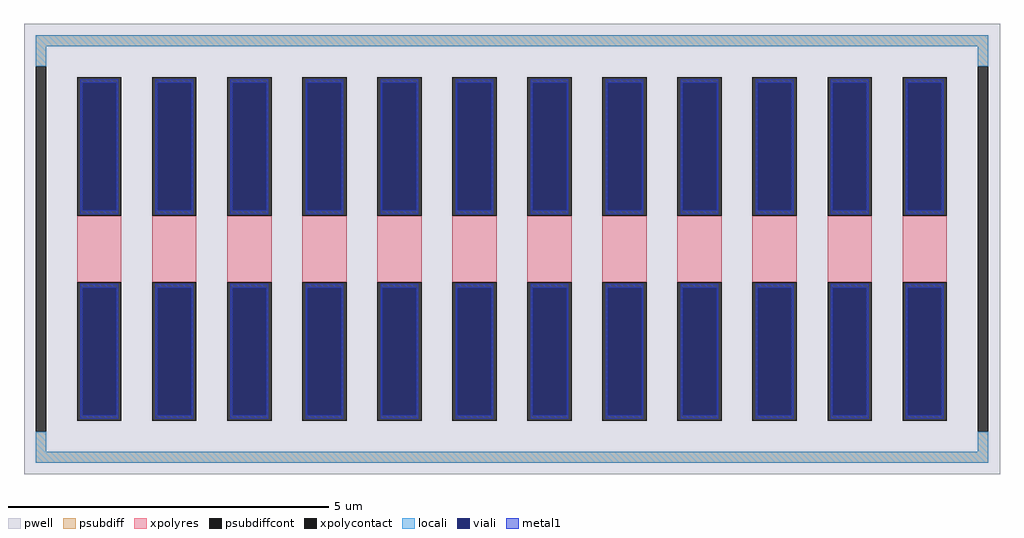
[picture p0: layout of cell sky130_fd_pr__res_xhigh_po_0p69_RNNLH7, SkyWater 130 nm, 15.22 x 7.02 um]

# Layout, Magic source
magic
tech sky130A
magscale 1 2
<< pwell >>
rect -1522 -702 1522 702
<< psubdiff >>
rect -1486 632 1486 666
rect -1486 570 -1452 632
rect 1452 570 1486 632
rect -1486 -632 -1452 -570
rect 1452 -632 1486 -570
rect -1486 -666 1486 -632
<< psubdiffcont >>
rect -1486 -570 -1452 570
rect 1452 -570 1486 570
<< xpolycontact >>
rect -1356 104 -1218 536
rect -1356 -536 -1218 -104
rect -1122 104 -984 536
rect -1122 -536 -984 -104
rect -888 104 -750 536
rect -888 -536 -750 -104
rect -654 104 -516 536
rect -654 -536 -516 -104
rect -420 104 -282 536
rect -420 -536 -282 -104
rect -186 104 -48 536
rect -186 -536 -48 -104
rect 48 104 186 536
rect 48 -536 186 -104
rect 282 104 420 536
rect 282 -536 420 -104
rect 516 104 654 536
rect 516 -536 654 -104
rect 750 104 888 536
rect 750 -536 888 -104
rect 984 104 1122 536
rect 984 -536 1122 -104
rect 1218 104 1356 536
rect 1218 -536 1356 -104
<< xpolyres >>
rect -1356 -104 -1218 104
rect -1122 -104 -984 104
rect -888 -104 -750 104
rect -654 -104 -516 104
rect -420 -104 -282 104
rect -186 -104 -48 104
rect 48 -104 186 104
rect 282 -104 420 104
rect 516 -104 654 104
rect 750 -104 888 104
rect 984 -104 1122 104
rect 1218 -104 1356 104
<< locali >>
rect -1486 632 1486 666
rect -1486 570 -1452 632
rect 1452 570 1486 632
rect -1486 -632 -1452 -570
rect 1452 -632 1486 -570
rect -1486 -666 1486 -632
<< viali >>
rect -1340 121 -1234 518
rect -1106 121 -1000 518
rect -872 121 -766 518
rect -638 121 -532 518
rect -404 121 -298 518
rect -170 121 -64 518
rect 64 121 170 518
rect 298 121 404 518
rect 532 121 638 518
rect 766 121 872 518
rect 1000 121 1106 518
rect 1234 121 1340 518
rect -1340 -518 -1234 -121
rect -1106 -518 -1000 -121
rect -872 -518 -766 -121
rect -638 -518 -532 -121
rect -404 -518 -298 -121
rect -170 -518 -64 -121
rect 64 -518 170 -121
rect 298 -518 404 -121
rect 532 -518 638 -121
rect 766 -518 872 -121
rect 1000 -518 1106 -121
rect 1234 -518 1340 -121
<< metal1 >>
rect -1346 518 -1228 530
rect -1346 121 -1340 518
rect -1234 121 -1228 518
rect -1346 109 -1228 121
rect -1112 518 -994 530
rect -1112 121 -1106 518
rect -1000 121 -994 518
rect -1112 109 -994 121
rect -878 518 -760 530
rect -878 121 -872 518
rect -766 121 -760 518
rect -878 109 -760 121
rect -644 518 -526 530
rect -644 121 -638 518
rect -532 121 -526 518
rect -644 109 -526 121
rect -410 518 -292 530
rect -410 121 -404 518
rect -298 121 -292 518
rect -410 109 -292 121
rect -176 518 -58 530
rect -176 121 -170 518
rect -64 121 -58 518
rect -176 109 -58 121
rect 58 518 176 530
rect 58 121 64 518
rect 170 121 176 518
rect 58 109 176 121
rect 292 518 410 530
rect 292 121 298 518
rect 404 121 410 518
rect 292 109 410 121
rect 526 518 644 530
rect 526 121 532 518
rect 638 121 644 518
rect 526 109 644 121
rect 760 518 878 530
rect 760 121 766 518
rect 872 121 878 518
rect 760 109 878 121
rect 994 518 1112 530
rect 994 121 1000 518
rect 1106 121 1112 518
rect 994 109 1112 121
rect 1228 518 1346 530
rect 1228 121 1234 518
rect 1340 121 1346 518
rect 1228 109 1346 121
rect -1346 -121 -1228 -109
rect -1346 -518 -1340 -121
rect -1234 -518 -1228 -121
rect -1346 -530 -1228 -518
rect -1112 -121 -994 -109
rect -1112 -518 -1106 -121
rect -1000 -518 -994 -121
rect -1112 -530 -994 -518
rect -878 -121 -760 -109
rect -878 -518 -872 -121
rect -766 -518 -760 -121
rect -878 -530 -760 -518
rect -644 -121 -526 -109
rect -644 -518 -638 -121
rect -532 -518 -526 -121
rect -644 -530 -526 -518
rect -410 -121 -292 -109
rect -410 -518 -404 -121
rect -298 -518 -292 -121
rect -410 -530 -292 -518
rect -176 -121 -58 -109
rect -176 -518 -170 -121
rect -64 -518 -58 -121
rect -176 -530 -58 -518
rect 58 -121 176 -109
rect 58 -518 64 -121
rect 170 -518 176 -121
rect 58 -530 176 -518
rect 292 -121 410 -109
rect 292 -518 298 -121
rect 404 -518 410 -121
rect 292 -530 410 -518
rect 526 -121 644 -109
rect 526 -518 532 -121
rect 638 -518 644 -121
rect 526 -530 644 -518
rect 760 -121 878 -109
rect 760 -518 766 -121
rect 872 -518 878 -121
rect 760 -530 878 -518
rect 994 -121 1112 -109
rect 994 -518 1000 -121
rect 1106 -518 1112 -121
rect 994 -530 1112 -518
rect 1228 -121 1346 -109
rect 1228 -518 1234 -121
rect 1340 -518 1346 -121
rect 1228 -530 1346 -518
<< properties >>
string FIXED_BBOX -1469 -649 1469 649
string gencell sky130_fd_pr__res_xhigh_po_0p69
string library sky130
string parameters w 0.690 l 1.2 m 1 nx 12 wmin 0.690 lmin 0.50 rho 2000 val 4.023k dummy 0 dw 0.0 term 188.2 sterm 0.0 caplen 0 wmax 0.690 guard 1 glc 1 grc 1 gtc 0 gbc 0 compatible {sky130_fd_pr__res_xhigh_po_0p35  sky130_fd_pr__res_xhigh_po_0p69 sky130_fd_pr__res_xhigh_po_1p41  sky130_fd_pr__res_xhigh_po_2p85 sky130_fd_pr__res_xhigh_po_5p73} snake 0 full_metal 1 n_guard 0 hv_guard 0 vias 1 viagb 0 viagt 0 viagl 0 viagr 0
<< end >>
